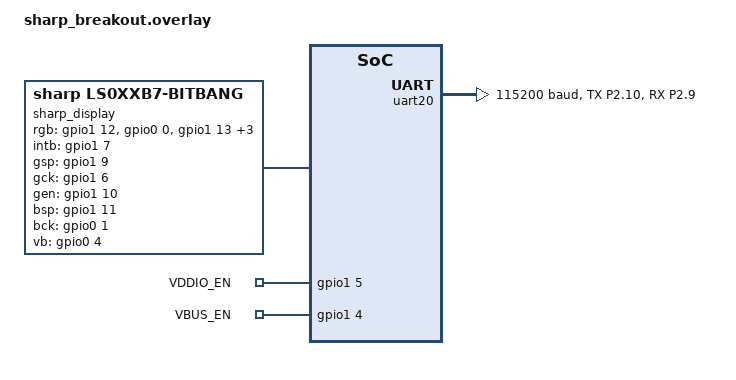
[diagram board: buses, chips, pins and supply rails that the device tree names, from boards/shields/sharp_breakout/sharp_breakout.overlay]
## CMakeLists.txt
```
# SPDX-License-Identifier: Apache-2.0

cmake_minimum_required(VERSION 3.20.0)
find_package(Zephyr REQUIRED HINTS $ENV{ZEPHYR_BASE})
project(sharp_bitbang)

target_sources(app PRIVATE src/main.c src/display_sharp_ls0xxb7_bitbang.c)
```

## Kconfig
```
source "Kconfig.zephyr"

menu "Sharp LS0XXB7 Display Options"

choice
    prompt "Display Mode"
    default SHARP_LS0XXB7_DISPLAY_MODE_COLOR

config SHARP_LS0XXB7_DISPLAY_MODE_COLOR
    bool "Color (6-bit, 2-bit per R/G/B). Currently internally represented as a 16-bit RGB565 value in the internal buffer to enable use with LGVL."

config SHARP_LS0XXB7_DISPLAY_MODE_MONOCHROME
    bool "Monochrome (1-bit). If black/white is all you need, this mode saves RAM by keeping only one bit per pixel in the buffer."

endchoice

endmenu
```

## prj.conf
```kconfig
CONFIG_GPIO=y

CONFIG_NRFX_TIMER22=y
CONFIG_NRFX_GPPI=y

CONFIG_DISPLAY=y
CONFIG_DISPLAY_LOG_LEVEL_DBG=y

CONFIG_LVGL=y
CONFIG_LV_Z_MEM_POOL_SIZE=16384

#
# Uncomment for 16-bit color.
#
CONFIG_LV_COLOR_DEPTH_16=y
CONFIG_LV_Z_BITS_PER_PIXEL=16
CONFIG_SHARP_LS0XXB7_DISPLAY_MODE_COLOR=y
# This is necessary to enforce that partial updates are lined up with the
# beginning of each row. The Sharp display only supports skipping full rows
# during partial updated, so we can never start a partial update in the middle
# of a row. This number must be a power of two, and the smallest one above the
# display width is enough.
# A better approach is to use capabilities->SCREEN_INFO_X_ALIGNMENT_WIDTH, but
# it currently is only used by monochrome pixel format displays.
CONFIG_LV_Z_AREA_X_ALIGNMENT_WIDTH=512

#
# Uncomment for monochrome mode.
#
# CONFIG_LV_Z_BITS_PER_PIXEL=1
# CONFIG_SHARP_LS0XXB7_DISPLAY_MODE_MONOCHROME=y

# Causes LVGL to keep the full screen buffer in RAM.
# CONFIG_LV_Z_FULL_REFRESH=y

CONFIG_MAIN_STACK_SIZE=4096

# RTT.
CONFIG_RTT_CONSOLE=y
CONFIG_USE_SEGGER_RTT=y
CONFIG_LOG=y
CONFIG_LOG_BACKEND_RTT=y

# LVGL.
CONFIG_LV_USE_LOG=y
CONFIG_LV_LOG_LEVEL_ERROR=y
CONFIG_LV_USE_LABEL=y
CONFIG_LV_USE_ARC=y
CONFIG_LV_USE_MONKEY=y
CONFIG_LV_FONT_DEFAULT_MONTSERRAT_28=y
```

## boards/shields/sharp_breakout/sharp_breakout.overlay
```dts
/delete-node/ &pwm20;

/delete-node/ &uart30;

/delete-node/ &spi00;

/delete-node/ &pwm_led1;

&pinctrl {
	/delete-node/ spi00_default;
	/delete-node/ spi00_sleep;
	/delete-node/ uart30_default;
	/delete-node/ uart30_sleep;
	/delete-node/ pwm20_default;
	/delete-node/ pwm20_sleep;

	/omit-if-no-ref/ uart20_default: uart20_default {
		group1 {
			psels = <NRF_PSEL(UART_TX, 2, 10)>;
		};
		group2 {
			psels = <NRF_PSEL(UART_RX, 2, 9)>;
			bias-pull-up;
		};
	};

	/omit-if-no-ref/ uart20_sleep: uart20_sleep {
		group1 {
			psels = <NRF_PSEL(UART_TX, 2, 10)>,
							<NRF_PSEL(UART_RX, 2, 9)>;
			low-power-enable;
		};
	};
};

&uart20 {
	current-speed = <115200>;
	pinctrl-0 = <&uart20_default>;
	pinctrl-1 = <&uart20_sleep>;
	pinctrl-names = "default", "sleep";
};

/ {

	chosen {
		zephyr,display = &sharp_display;
	};

	sharp_display: sharp_ls0xxb7 {
		compatible = "sharp,ls0xxb7-bitbang";
		status = "okay";
		height = <280>;
		width = <280>;
		rgb-gpios =
								<&gpio1 12 GPIO_ACTIVE_HIGH>,
								<&gpio0 0 GPIO_ACTIVE_HIGH>,  // r1 [1]
								<&gpio1 13 GPIO_ACTIVE_HIGH>, // g0 [2]
								<&gpio0 3 GPIO_ACTIVE_HIGH>,  // g1 [3]
								<&gpio1 14 GPIO_ACTIVE_HIGH>, // b0 [4]
								<&gpio0 2 GPIO_ACTIVE_HIGH>;  // b1 [5]
								intb-gpios = <&gpio1 7 GPIO_ACTIVE_HIGH>;
		gsp-gpios = <&gpio1 9 GPIO_ACTIVE_HIGH>;
		gck-gpios = <&gpio1 6 GPIO_ACTIVE_HIGH>;
		gen-gpios = <&gpio1 10 GPIO_ACTIVE_HIGH>;
		bsp-gpios = <&gpio1 11 GPIO_ACTIVE_HIGH>;
		bck-gpios = <&gpio0 1 GPIO_ACTIVE_HIGH>;
		vb-gpios = <&gpio0 4 GPIO_ACTIVE_HIGH>;
		va-gpios = <&gpio1 8 GPIO_ACTIVE_HIGH>;
		vcom-freq = <30>;
	};
	/delete-node/ aliases;


	leds {
		compatible = "gpio-leds";
		vddio_en: vddio_en {
			gpios = <&gpio1 5 GPIO_ACTIVE_HIGH>;
			label = "VDDIO_EN";
		};

		vbus_en: vbus_en {
			gpios = <&gpio1 4 GPIO_ACTIVE_HIGH>;
			label = "VBUS_EN";
		};
	};
};
```

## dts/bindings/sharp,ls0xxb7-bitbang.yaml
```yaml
# Copyright 2025 Nordic Semiconductor
#
# SPDX-License-Identifier: Apache-2.0

description: |
  Sharp 64 color memory-in-pixel bit banged controller. Emulates proprietary parallel interface.

compatible: "sharp,ls0xxb7-bitbang"

include: [display-controller.yaml]

properties:
  rgb-gpios:
    type: phandle-array
    required: true
    description: |
      Must contain references to 6 GPIO for 2 bit RGB color.
  intb-gpios:
    type: phandle-array
    required: true
    description: |
      Initial signal for binary driver && gate driver
  gsp-gpios:
    type: phandle-array
    required: true
    description: |
      Start signal for gate driver
  gck-gpios:
    type: phandle-array
    required: true
    description: |
      Clock for gate driver
  gen-gpios:
    type: phandle-array
    required: true
    description: |
      Gate enable
  bsp-gpios:
    type: phandle-array
    required: true
    description: |
      Start signal for binary driver
  bck-gpios:
    type: phandle-array
    required: true
    description: |
      Clock for binary driver
  vb-gpios:
    type: phandle-array
    required: true
    description: VB black signal voltage for LCD, also connected to VCOM.
  va-gpios:
    type: phandle-array
    required: true
    description: VA, white signal voltage for LCD.
  vcom-freq:
    type: int
    default: 30
    enum:
      - 30
      - 60
    description: |
      Frequency of VCOM in Hertz
```

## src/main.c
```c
#include <lvgl.h>
#include <lvgl_display.h>
#include <stdio.h>
#include <zephyr/device.h>
#include <zephyr/drivers/display.h>
#include <zephyr/drivers/gpio.h>
#include <zephyr/dt-bindings/gpio/nordic-nrf-gpio.h>
#include <zephyr/kernel.h>
#include <zephyr/logging/log.h>

LOG_MODULE_REGISTER(main, CONFIG_DISPLAY_LOG_LEVEL);

#define DISPLAY_H DT_PROP(DT_NODELABEL(sharp_display), height)
#define DISPLAY_W DT_PROP(DT_NODELABEL(sharp_display), width)

static const struct device *display_dev =
    DEVICE_DT_GET(DT_NODELABEL(sharp_display));

static const struct gpio_dt_spec vddio_en =
    GPIO_DT_SPEC_GET(DT_NODELABEL(vddio_en), gpios);
static const struct gpio_dt_spec vbus_en =
    GPIO_DT_SPEC_GET(DT_NODELABEL(vbus_en), gpios);

static const struct gpio_dt_spec led0 =
    GPIO_DT_SPEC_GET(DT_NODELABEL(led0), gpios);

int main(void) {
  gpio_pin_configure_dt(&vddio_en, GPIO_OUTPUT_HIGH);
  gpio_pin_configure_dt(&vbus_en, GPIO_OUTPUT_HIGH);
  gpio_pin_configure_dt(&led0, GPIO_OUTPUT);

  // Power up.
  gpio_pin_set_dt(&vddio_en, 1);
  k_busy_wait(1000);
  gpio_pin_set_dt(&vbus_en, 1);
  k_busy_wait(1000);

  if (!device_is_ready(display_dev)) {
    LOG_ERR("Device not ready, aborting test");
    return 0;
  }

  lv_obj_t *scr = lv_scr_act();

  // Square.
  lv_obj_t *square = lv_obj_create(scr);
  lv_obj_set_style_bg_opa(square, LV_OPA_COVER, LV_PART_MAIN);
  lv_obj_set_size(square, 128, 128);
  lv_obj_align(square, LV_ALIGN_CENTER, 0, 0);

  // Text.
  lv_obj_t *label = lv_label_create(scr);
  lv_label_set_long_mode(label, LV_LABEL_LONG_WRAP);
  lv_obj_set_width(label, 110);
  lv_label_set_text(label, "Hello, world");
  lv_obj_align(label, LV_ALIGN_CENTER, 0, 0);

#if CONFIG_SHARP_LS0XXB7_DISPLAY_MODE_MONOCHROME
  lv_obj_set_style_bg_color(square, lv_color_black(), LV_PART_MAIN);
#elif CONFIG_SHARP_LS0XXB7_DISPLAY_MODE_COLOR
  // Paint background white.
  static lv_style_t style_bg_white;
  lv_style_init(&style_bg_white);
  lv_style_set_bg_color(&style_bg_white, lv_color_white());
  // lv_style_set_bg_color(&style_bg_white, lv_color_hex(0x0000ff));
  lv_style_set_bg_opa(&style_bg_white, LV_OPA_COVER);
  lv_obj_add_style(scr, &style_bg_white, LV_PART_MAIN);

  // Square.
  static lv_style_t style;
  lv_style_init(&style);
  lv_style_set_bg_color(&style, lv_color_hex(0x00ff00));
  lv_style_set_border_color(&style, lv_color_hex(0x0000ff));
  lv_style_set_border_width(&style, 4);
  lv_obj_add_style(square, &style, LV_PART_MAIN);
  lv_obj_update_layout(square);

  // Paint text red.
  static lv_style_t style_red;
  lv_style_init(&style_red);
  lv_style_set_text_color(&style_red, lv_color_hex(0xff0000));
  lv_obj_add_style(label, &style_red, LV_PART_MAIN);
#endif  // CONFIG_SHARP_LS0XXB7_DISPLAY_MODE_COLOR

  int x = 100;
  char buf[32];
  while (1) {
    lv_task_handler();
    k_msleep(1000);

    // Update counter.
    snprintf(buf, sizeof(buf), "x: %d", x);
    lv_label_set_text(label, buf);
    x += 1;
  }

  return 0;
}
```

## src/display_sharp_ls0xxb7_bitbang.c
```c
/*
 *  Bit-banging driver for Sharp LS0XXB7 displays. It currently only works with
 *  the LS014B7DD01 display.
 */

#include <zephyr/logging/log.h>
LOG_MODULE_REGISTER(sharp_mip_parallel, CONFIG_DISPLAY_LOG_LEVEL);

#include <stdint.h>
#include <zephyr/drivers/display.h>
#include <zephyr/drivers/gpio.h>
#include <zephyr/kernel.h>

struct rgb_port {
  const struct device *port;
  // Bitmask of GPIO indexed into config->rgb that are connected to this port.
  uint8_t rgb_idx_mask;
  gpio_port_pins_t port_mask;
};

// Private mutable data for the driver.
struct sharp_mip_data {
  K_KERNEL_STACK_MEMBER(vcom_thread_stack, /*size=*/256);
  struct k_thread vcom_thread;

  // Optimization for RGB pins.
  struct rgb_port rgb_ports[2];
};

// Private const data for the driver.
struct sharp_mip_config {
  uint16_t height;
  uint16_t width;

  struct gpio_dt_spec intb;
  struct gpio_dt_spec gsp;
  struct gpio_dt_spec gck;
  struct gpio_dt_spec gen;
  struct gpio_dt_spec bsp;
  struct gpio_dt_spec bck;
  struct gpio_dt_spec rgb[6];

  struct gpio_dt_spec vcom_vb;
  struct gpio_dt_spec va;
  int vcom_freq;
};

static void vcom_thread(void *config, void *unused1, void *unused2) {
  const struct sharp_mip_config *cfg = config;

  // Ensure out of phase.
  gpio_pin_set_dt(&cfg->vcom_vb, 1);
  gpio_pin_set_dt(&cfg->va, 0);

  while (1) {
    gpio_pin_toggle_dt(&cfg->vcom_vb);
    gpio_pin_toggle_dt(&cfg->va);
    k_msleep(1000 / cfg->vcom_freq);
  }
}

#define SET_GPIO_OUTPUT(ret, name)                       \
  do {                                                   \
    if (!device_is_ready(name.port)) {                   \
      LOG_ERR(#name " GPIO port not ready");             \
      return -ENODEV;                                    \
    }                                                    \
    ret = gpio_pin_configure_dt(&name, GPIO_OUTPUT);     \
    if (ret < 0) {                                       \
      LOG_ERR(#name " GPIO pin config failed: %d", ret); \
      return ret;                                        \
    }                                                    \
  } while (0)

static int sharp_mip_init(const struct device *dev) {
  const struct sharp_mip_config *config = dev->config;
  struct sharp_mip_data *data = dev->data;

  int ret;

  SET_GPIO_OUTPUT(ret, config->intb);
  SET_GPIO_OUTPUT(ret, config->gsp);
  SET_GPIO_OUTPUT(ret, config->gck);
  SET_GPIO_OUTPUT(ret, config->gen);
  SET_GPIO_OUTPUT(ret, config->bsp);
  SET_GPIO_OUTPUT(ret, config->bck);
  for (int i = 0; i < sizeof(config->rgb) / sizeof(config->rgb[0]); i++) {
    SET_GPIO_OUTPUT(ret, config->rgb[i]);
  }

  SET_GPIO_OUTPUT(ret, config->vcom_vb);
  SET_GPIO_OUTPUT(ret, config->va);
  k_thread_create(&data->vcom_thread, data->vcom_thread_stack,
                  K_KERNEL_STACK_SIZEOF(data->vcom_thread_stack),
                  (k_thread_entry_t)vcom_thread, /*arg1=*/(void *)config,
                  /*arg2=*/NULL, /*arg3=*/NULL, K_PRIO_PREEMPT(7),
                  /*options=*/0, K_NO_WAIT);

  // Collect RGB gpios into data->rgb_ports.
  for (int gpio_idx = 0;
       gpio_idx < sizeof(config->rgb) / sizeof(config->rgb[0]); gpio_idx++) {
    for (int port_idx = 0;
         port_idx < sizeof(data->rgb_ports) / sizeof(data->rgb_ports[0]);
         port_idx++) {
      if (data->rgb_ports[port_idx].port == config->rgb[gpio_idx].port ||
          data->rgb_ports[port_idx].port == NULL) {
        data->rgb_ports[port_idx].port = config->rgb[gpio_idx].port;
        data->rgb_ports[port_idx].rgb_idx_mask |= (1 << gpio_idx);
        data->rgb_ports[port_idx].port_mask |= (1 << config->rgb[gpio_idx].pin);
        break;
      }
    }
  }

  LOG_DBG("Sharp MIP display initialized. Resolution: %dx%d", config->width,
          config->height);

  for (int i = 0; i < sizeof(data->rgb_ports) / sizeof(data->rgb_ports[0]);
       i++) {
    LOG_DBG("RGB port %d: %p, mask: 0x%02x", i, data->rgb_ports[i].port,
            data->rgb_ports[i].rgb_idx_mask);
  }

  return 0;
}

static inline void set_rgb(bool is_msb, int x0, const uint8_t *buf,
                           const struct sharp_mip_config *cfg,
                           const struct sharp_mip_data *data) {
#if CONFIG_SHARP_LS0XXB7_DISPLAY_MODE_COLOR

// Convert from RGB565 to RGB222 by dropping the least significant bits.
#define CVT_5_TO_2_BITS(val) (((val) >> 3) & 0x03)
#define CVT_6_TO_2_BITS(val) (((val) >> 4) & 0x03)

// TODO: Make this endianess-agnostic.
// Extract 2-bit R, G, B values from a lil-endian 16-bit RGB565 pointed by buf.
#define _R(buf) CVT_5_TO_2_BITS(((buf)[1] >> 3) & 0x1f)
#define _G(buf) CVT_6_TO_2_BITS((((buf)[1] & 0x7) << 3) | ((buf)[0] >> 5))
#define _B(buf) CVT_5_TO_2_BITS(((buf)[0]) & 0x1f)

// Get either MSB or LSB from from a 2-bit value.
#define GET_SIG_BIT(v, is_msb) ((v) >> ((is_msb) ? 0 : 1) & 0x1)

// Set bit on port register if rgb_idx is on this port.
#define VAL_BIT_IF_ON_PORT(port, rgb_idx, v2bit)                   \
  ((data->rgb_ports[(port)].rgb_idx_mask & BIT(rgb_idx))           \
       ? (GET_SIG_BIT((v2bit), is_msb) << cfg->rgb[(rgb_idx)].pin) \
       : 0)

  // Offset into buf for 16-bit RGB565 data at column x0.
  const uint8_t *b = buf + 2 * x0;

  for (int port_idx = 0;
       port_idx < sizeof(data->rgb_ports) / sizeof(data->rgb_ports[0]);
       port_idx++) {
    // Skip port if it's not connected to any RGB pins.
    if (data->rgb_ports[port_idx].port == NULL) {
      continue;
    }

    const gpio_port_value_t val = VAL_BIT_IF_ON_PORT(port_idx, 0, _R(b + 0)) |
                                  VAL_BIT_IF_ON_PORT(port_idx, 1, _R(b + 2)) |
                                  VAL_BIT_IF_ON_PORT(port_idx, 2, _G(b + 0)) |
                                  VAL_BIT_IF_ON_PORT(port_idx, 3, _G(b + 2)) |
                                  VAL_BIT_IF_ON_PORT(port_idx, 4, _B(b + 0)) |
                                  VAL_BIT_IF_ON_PORT(port_idx, 5, _B(b + 2));

    gpio_port_set_masked(data->rgb_ports[port_idx].port,
                         data->rgb_ports[port_idx].port_mask, val);
  }

#elif CONFIG_SHARP_LS0XXB7_DISPLAY_MODE_MONOCHROME

#define GET_BUF_BIT(buf, x) (((uint8_t *)buf)[(x) / 8] >> ((x) % 8) & 0x1)

#define VAL_BIT_IF_ON_PORT(port, rgb_idx, buf, x)             \
  ((data->rgb_ports[(port)].rgb_idx_mask & BIT(rgb_idx))      \
       ? (GET_BUF_BIT((buf), (x)) << cfg->rgb[(rgb_idx)].pin) \
       : 0)

  for (int port_idx = 0;
       port_idx < sizeof(data->rgb_ports) / sizeof(data->rgb_ports[0]);
       port_idx++) {
    // Skip port if it's not connected to any RGB pins.
    if (data->rgb_ports[port_idx].port == NULL) {
      continue;
    }

    const gpio_port_value_t val = VAL_BIT_IF_ON_PORT(port_idx, 0, buf, x0 + 0) |
                                  VAL_BIT_IF_ON_PORT(port_idx, 1, buf, x0 + 1) |
                                  VAL_BIT_IF_ON_PORT(port_idx, 2, buf, x0 + 0) |
                                  VAL_BIT_IF_ON_PORT(port_idx, 3, buf, x0 + 1) |
                                  VAL_BIT_IF_ON_PORT(port_idx, 4, buf, x0 + 0) |
                                  VAL_BIT_IF_ON_PORT(port_idx, 5, buf, x0 + 1);

    gpio_port_set_masked(data->rgb_ports[port_idx].port,
                         data->rgb_ports[port_idx].port_mask, val);
  }

#endif  // CONFIG_SHARP_LS0XXB7_DISPLAY_MODE
}

static inline void set(const struct gpio_dt_spec *gpio) {
  gpio_pin_set_raw(gpio->port, gpio->pin, 1);
}
static inline void clear(const struct gpio_dt_spec *gpio) {
  gpio_pin_set_raw(gpio->port, gpio->pin, 0);
}
static inline void toggle(const struct gpio_dt_spec *gpio) {
  int val = gpio_pin_get_raw(gpio->port, gpio->pin);
  gpio_pin_set_raw(gpio->port, gpio->pin, !val);
}

static inline void send_half_line(bool is_msb, const void *buf,
                                  const struct sharp_mip_config *cfg,
                                  const struct sharp_mip_data *data) {
  clear(&cfg->bsp);
  set(&cfg->bsp);

  for (int i = 1; i <= 144; i++) {
    toggle(&cfg->bck);

    if (i == 2) {
      clear(&cfg->bsp);
    }
    if (i >= 1 && i <= 140) {
      // Prepare RGB pins for the next BCK edge.
      set_rgb(is_msb, /*x0=*/2 * (i - 1), buf, cfg, data);
    }
  }
}

static int sharp_mip_write(const struct device *dev, const uint16_t x,
                           const uint16_t y,
                           const struct display_buffer_descriptor *desc,
                           const void *buf) {
  const struct sharp_mip_config *cfg = dev->config;

  // The display only supports partial updates at full rows. I.e.: we can
  // start drawing at (y = 10, x = 0), but _not_ at (y, x = 10).
  if (x != 0) {
    LOG_ERR(
        "Full screen or partial updates must be at full rows! x: %d, y = %d, "
        "buf size: %d",
        x, y, desc->buf_size);
    return -ENOTSUP;
  }

  // Offset for GCK. For full-screen updates, this is 2. For partial updates,
  // it's 2 plus the number of half-lines to skip.
  const int gck_offset = 2 + y * 2;

  // The last GCK index of the last sent half-line.
  const int gck_last_half_line = gck_offset + 2 * desc->height - 1;

  LOG_DBG(
      "Sharp MIP display write. x: %d, y: %d; buf size: %d (buf height: %d,buf "
      "width: %d). Offset: %d, last: %d",
      x, y, desc->buf_size, desc->height, desc->width, gck_offset,
      gck_last_half_line);

  clear(&cfg->gck);
  set(&cfg->intb);
  set(&cfg->gsp);

  // 1-indexed to match the datasheet and improve debugging.
  for (int i = 1; i <= 568; i++) {
    toggle(&cfg->gck);

    if (i == 2) {
      clear(&cfg->gsp);
    }

    if (i == gck_offset) {
      send_half_line(/*is_msb=*/true, buf, cfg, dev->data);
    } else if (i >= gck_offset + 1 && i <= gck_last_half_line) {
      set(&cfg->gen);

      // This display sends MSB for a full line at a GCK edge and then the LSB
      // for the same line at the next GCK edge.
      const uint16_t display_line = (i - gck_offset) / 2;
      const bool is_msb = (i - gck_offset) % 2 == 0;

#if CONFIG_SHARP_LS0XXB7_DISPLAY_MODE_COLOR
      // Color buffer, 16 bits per pixel.
      // Each line has buf_width pixels, which is buf_width * 2.
      uint8_t *line_buf = (uint8_t *)buf + display_line * desc->width * 2;
#elif CONFIG_SHARP_LS0XXB7_DISPLAY_MODE_MONOCHROME
      // Monochrome buffer, 1 bit per pixel.
      // Each line has 280 pixels, which is 280 / 8 = 35 bytes.
      uint8_t *line_buf = (uint8_t *)buf + display_line * 35;
#endif  // CONFIG_SHARP_LS0XXB7_DISPLAY_MODE

      send_half_line(is_msb, line_buf, cfg, dev->data);
      clear(&cfg->gen);
    } else if (i == gck_last_half_line + 1) {
      set(&cfg->gen);
      clear(&cfg->gen);
    } else if (i == 566) {
      clear(&cfg->intb);
    }
  }

  return 0;
}

static void sharp_mip_get_capabilities(
    const struct device *dev, struct display_capabilities *capabilities) {
  const struct sharp_mip_config *config = dev->config;

  capabilities->x_resolution = config->width;
  capabilities->y_resolution = config->height;

#if CONFIG_SHARP_LS0XXB7_DISPLAY_MODE_COLOR
  // TODO: This is wasteful. We are requesting 16 bits per pixel here, and we
  // only need 6 bits per pixel. In 2025-03, Zephyr introduced
  // (https://github.com/zephyrproject-rtos/zephyr/pull/86821) the
  // PIXEL_FORMAT_L_8. It's intended for 8-bit grayscale, but I think we can
  // use it for 6-bit color here, saving us half the buffer size.
  capabilities->supported_pixel_formats = PIXEL_FORMAT_RGB_565;
  capabilities->current_pixel_format = PIXEL_FORMAT_RGB_565;
#elif CONFIG_SHARP_LS0XXB7_DISPLAY_MODE_MONOCHROME
  capabilities->supported_pixel_formats = PIXEL_FORMAT_MONO10;
  capabilities->current_pixel_format = PIXEL_FORMAT_MONO10;
#endif  // CONFIG_SHARP_LS0XXB7_DISPLAY_MODE

  // We need partial updates to contain full rows. Note that as of writing,
  // this flag only takes effect for monochrome pixel formats.
  capabilities->screen_info = SCREEN_INFO_X_ALIGNMENT_WIDTH;

  // TODO: get from config.
  capabilities->current_orientation = DISPLAY_ORIENTATION_NORMAL;
}

struct display_driver_api sharp_mip_driver_api = {
    .write = sharp_mip_write,
    .get_capabilities = sharp_mip_get_capabilities,
};

#define SHARP_MIP_DEFINE(node_id)                                  \
  static struct sharp_mip_data data_##node_id = {                  \
      .rgb_ports =                                                 \
          {                                                        \
              {.port = NULL, .rgb_idx_mask = 0, .port_mask = 0},   \
              {.port = NULL, .rgb_idx_mask = 0, .port_mask = 0},   \
          },                                                       \
  };                                                               \
  static const struct sharp_mip_config config_##node_id = {        \
      .height = DT_PROP(node_id, height),                          \
      .width = DT_PROP(node_id, width),                            \
      .intb = GPIO_DT_SPEC_GET(node_id, intb_gpios),               \
      .gsp = GPIO_DT_SPEC_GET(node_id, gsp_gpios),                 \
      .gck = GPIO_DT_SPEC_GET(node_id, gck_gpios),                 \
      .gen = GPIO_DT_SPEC_GET(node_id, gen_gpios),                 \
      .bsp = GPIO_DT_SPEC_GET(node_id, bsp_gpios),                 \
      .bck = GPIO_DT_SPEC_GET(node_id, bck_gpios),                 \
      .rgb = {GPIO_DT_SPEC_GET_BY_IDX(node_id, rgb_gpios, 0),      \
              GPIO_DT_SPEC_GET_BY_IDX(node_id, rgb_gpios, 1),      \
              GPIO_DT_SPEC_GET_BY_IDX(node_id, rgb_gpios, 2),      \
              GPIO_DT_SPEC_GET_BY_IDX(node_id, rgb_gpios, 3),      \
              GPIO_DT_SPEC_GET_BY_IDX(node_id, rgb_gpios, 4),      \
              GPIO_DT_SPEC_GET_BY_IDX(node_id, rgb_gpios, 5)},     \
      .vcom_vb = GPIO_DT_SPEC_GET(node_id, vb_gpios),              \
      .va = GPIO_DT_SPEC_GET(node_id, va_gpios),                   \
      .vcom_freq = DT_PROP(node_id, vcom_freq),                    \
  };                                                               \
  DEVICE_DT_DEFINE(node_id, sharp_mip_init, NULL, &data_##node_id, \
                   &config_##node_id, POST_KERNEL,                 \
                   CONFIG_DISPLAY_INIT_PRIORITY, &sharp_mip_driver_api);

DT_FOREACH_STATUS_OKAY(sharp_ls0xxb7_bitbang, SHARP_MIP_DEFINE);
```
